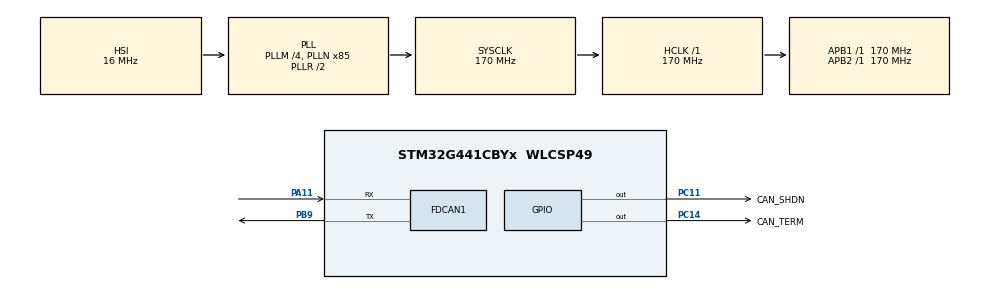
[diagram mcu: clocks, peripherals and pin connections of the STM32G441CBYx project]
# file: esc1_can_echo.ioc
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FDCAN1.CalculateBaudRateNominal=999999
FDCAN1.CalculateTimeBitNominal=1000
FDCAN1.CalculateTimeQuantumNominal=58.82352941176471
FDCAN1.NominalPrescaler=10
FDCAN1.NominalSyncJumpWidth=3
FDCAN1.NominalTimeSeg1=13
FDCAN1.NominalTimeSeg2=3
Mcu.Family=STM32G4
Mcu.Name=STM32G441CBYx
Mcu.Package=WLCSP49
NVIC.PriorityGroup=NVIC_PRIORITYGROUP_4
PA11.Mode=FDCAN_Activate
PA11.Signal=FDCAN1_RX
PB9.Mode=FDCAN_Activate
PB9.Signal=FDCAN1_TX
PC11.GPIO_Label=CAN_SHDN
PC11.Signal=GPIO_Output
PC14-OSC32_IN.GPIO_Label=CAN_TERM
PC14-OSC32_IN.PinState=GPIO_PIN_SET
PC14-OSC32_IN.Signal=GPIO_Output
ProjectManager.HeapSize=0x200
ProjectManager.StackSize=0x400
ProjectManager.TargetToolchain=STM32CubeIDE
RCC.ADC12Freq_Value=170000000
RCC.AHBFreq_Value=170000000
RCC.APB1Freq_Value=170000000
RCC.APB1TimFreq_Value=170000000
RCC.APB2Freq_Value=170000000
RCC.APB2TimFreq_Value=170000000
RCC.CortexFreq_Value=170000000
RCC.EXTERNAL_CLOCK_VALUE=12288000
RCC.HCLKFreq_Value=170000000
RCC.HSE_VALUE=8000000
RCC.HSI48_VALUE=48000000
RCC.HSI_VALUE=16000000
RCC.LSE_VALUE=32768
RCC.PLLM=RCC_PLLM_DIV4
RCC.PLLN=85
RCC.SYSCLKFreq_VALUE=170000000
RCC.SYSCLKSource=RCC_SYSCLKSOURCE_PLLCLK
RCC.USBFreq_Value=170000000
RCC.VCOOutputFreq_Value=340000000
VP_SYS_VS_DBSignals.Mode=DisableDeadBatterySignals
board=custom

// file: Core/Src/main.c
1/* USER CODE BEGIN Header */
/**
  ******************************************************************************
  * @file           : main.c
  * @brief          : Main program body
  ******************************************************************************
  * @attention
  *
  * Copyright (c) 2026 STMicroelectronics.
  * All rights reserved.
  *
  * This software is licensed under terms that can be found in the LICENSE file
  * in the root directory of this software component.
  * If no LICENSE file comes with this software, it is provided AS-IS.
  *
  ******************************************************************************
  */
/* USER CODE END Header */
#include "main.h"

FDCAN_HandleTypeDef hfdcan1;

/* USER CODE BEGIN PV */
FDCAN_RxHeaderTypeDef rxHeader;
FDCAN_TxHeaderTypeDef txHeader;
uint8_t rxData[8];
/* USER CODE END PV */

void SystemClock_Config(void);
static void MX_GPIO_Init(void);
static void MX_FDCAN1_Init(void);

int main(void)
{

  /* MCU Configuration--------------------------------------------------------*/

  /* Reset of all peripherals, Initializes the Flash interface and the Systick. */
  HAL_Init();

  /* Configure the system clock */
  SystemClock_Config();

  /* Initialize all configured peripherals */
  MX_GPIO_Init();
  MX_FDCAN1_Init();
  /* USER CODE BEGIN 2 */

  /* No explicit acceptance filters are allocated (StdFiltersNbr = 0 in the .ioc),
   * so route EVERY incoming frame via the global (non-matching) filter into
   * RX FIFO0 and reject remote frames. This needs no filter slots. */
  if (HAL_FDCAN_ConfigGlobalFilter(&hfdcan1,
                                   FDCAN_ACCEPT_IN_RX_FIFO0,   /* non-matching std -> FIFO0 */
                                   FDCAN_ACCEPT_IN_RX_FIFO0,   /* non-matching ext -> FIFO0 */
                                   FDCAN_REJECT_REMOTE,        /* reject remote std        */
                                   FDCAN_REJECT_REMOTE) != HAL_OK) /* reject remote ext    */
  {
    Error_Handler();
  }

  /* THE line everyone forgets — nothing moves on the bus without it. */
  if (HAL_FDCAN_Start(&hfdcan1) != HAL_OK)
  {
    Error_Handler();
  }

  /* Static parts of the echo TX header; DataLength is filled per-frame below. */
  txHeader.Identifier          = 0x7FF;
  txHeader.IdType              = FDCAN_STANDARD_ID;
  txHeader.TxFrameType         = FDCAN_DATA_FRAME;
  txHeader.ErrorStateIndicator = FDCAN_ESI_ACTIVE;
  txHeader.BitRateSwitch       = FDCAN_BRS_OFF;
  txHeader.FDFormat            = FDCAN_CLASSIC_CAN;
  txHeader.TxEventFifoControl  = FDCAN_NO_TX_EVENTS;
  txHeader.MessageMarker       = 0;
  /* USER CODE END 2 */

  /* Infinite loop */
  while (1)
  {

    /* USER CODE BEGIN 3 */
    if (HAL_FDCAN_GetRxFifoFillLevel(&hfdcan1, FDCAN_RX_FIFO0) > 0U)
    {
      if (HAL_FDCAN_GetRxMessage(&hfdcan1, FDCAN_RX_FIFO0, &rxHeader, rxData) == HAL_OK)
      {
        txHeader.DataLength = rxHeader.DataLength; /* echo same payload size */
        HAL_FDCAN_AddMessageToTxFifoQ(&hfdcan1, &txHeader, rxData);
      }
    }
  }
  /* USER CODE END 3 */
}

void SystemClock_Config(void)
{
  RCC_OscInitTypeDef RCC_OscInitStruct = {0};
  RCC_ClkInitTypeDef RCC_ClkInitStruct = {0};

  /** Configure the main internal regulator output voltage
  */
  HAL_PWREx_ControlVoltageScaling(PWR_REGULATOR_VOLTAGE_SCALE1_BOOST);

  /** Initializes the RCC Oscillators according to the specified parameters
  * in the RCC_OscInitTypeDef structure.
  */
  RCC_OscInitStruct.OscillatorType = RCC_OSCILLATORTYPE_HSI;
  RCC_OscInitStruct.HSIState = RCC_HSI_ON;
  RCC_OscInitStruct.HSICalibrationValue = RCC_HSICALIBRATION_DEFAULT;
  RCC_OscInitStruct.PLL.PLLState = RCC_PLL_ON;
  RCC_OscInitStruct.PLL.PLLSource = RCC_PLLSOURCE_HSI;
  RCC_OscInitStruct.PLL.PLLM = RCC_PLLM_DIV4;
  RCC_OscInitStruct.PLL.PLLN = 85;
  RCC_OscInitStruct.PLL.PLLP = RCC_PLLP_DIV2;
  RCC_OscInitStruct.PLL.PLLQ = RCC_PLLQ_DIV2;
  RCC_OscInitStruct.PLL.PLLR = RCC_PLLR_DIV2;
  if (HAL_RCC_OscConfig(&RCC_OscInitStruct) != HAL_OK)
  {
    Error_Handler();
  }

  /** Initializes the CPU, AHB and APB buses clocks
  */
  RCC_ClkInitStruct.ClockType = RCC_CLOCKTYPE_HCLK|RCC_CLOCKTYPE_SYSCLK
                              |RCC_CLOCKTYPE_PCLK1|RCC_CLOCKTYPE_PCLK2;
  RCC_ClkInitStruct.SYSCLKSource = RCC_SYSCLKSOURCE_PLLCLK;
  RCC_ClkInitStruct.AHBCLKDivider = RCC_SYSCLK_DIV1;
  RCC_ClkInitStruct.APB1CLKDivider = RCC_HCLK_DIV1;
  RCC_ClkInitStruct.APB2CLKDivider = RCC_HCLK_DIV1;

  if (HAL_RCC_ClockConfig(&RCC_ClkInitStruct, FLASH_LATENCY_4) != HAL_OK)
  {
    Error_Handler();
  }
}

static void MX_FDCAN1_Init(void)
{

  hfdcan1.Instance = FDCAN1;
  hfdcan1.Init.ClockDivider = FDCAN_CLOCK_DIV1;
  hfdcan1.Init.FrameFormat = FDCAN_FRAME_CLASSIC;
  hfdcan1.Init.Mode = FDCAN_MODE_NORMAL;
  hfdcan1.Init.AutoRetransmission = DISABLE;
  hfdcan1.Init.TransmitPause = DISABLE;
  hfdcan1.Init.ProtocolException = DISABLE;
  hfdcan1.Init.NominalPrescaler = 10;
  hfdcan1.Init.NominalSyncJumpWidth = 3;
  hfdcan1.Init.NominalTimeSeg1 = 13;
  hfdcan1.Init.NominalTimeSeg2 = 3;
  hfdcan1.Init.DataPrescaler = 1;
  hfdcan1.Init.DataSyncJumpWidth = 1;
  hfdcan1.Init.DataTimeSeg1 = 1;
  hfdcan1.Init.DataTimeSeg2 = 1;
  hfdcan1.Init.StdFiltersNbr = 0;
  hfdcan1.Init.ExtFiltersNbr = 0;
  hfdcan1.Init.TxFifoQueueMode = FDCAN_TX_FIFO_OPERATION;
  if (HAL_FDCAN_Init(&hfdcan1) != HAL_OK)
  {
    Error_Handler();
  }

}

static void MX_GPIO_Init(void)
{
  GPIO_InitTypeDef GPIO_InitStruct = {0};

  /* GPIO Ports Clock Enable */
  __HAL_RCC_GPIOC_CLK_ENABLE();
  __HAL_RCC_GPIOB_CLK_ENABLE();
  __HAL_RCC_GPIOA_CLK_ENABLE();

  /*Configure GPIO pin Output Level */
  HAL_GPIO_WritePin(CAN_SHDN_GPIO_Port, CAN_SHDN_Pin, GPIO_PIN_RESET);

  /*Configure GPIO pin Output Level */
  HAL_GPIO_WritePin(CAN_TERM_GPIO_Port, CAN_TERM_Pin, GPIO_PIN_SET);

  /*Configure GPIO pins : CAN_SHDN_Pin CAN_TERM_Pin */
  GPIO_InitStruct.Pin = CAN_SHDN_Pin|CAN_TERM_Pin;
  GPIO_InitStruct.Mode = GPIO_MODE_OUTPUT_PP;
  GPIO_InitStruct.Pull = GPIO_NOPULL;
  GPIO_InitStruct.Speed = GPIO_SPEED_FREQ_LOW;
  HAL_GPIO_Init(GPIOC, &GPIO_InitStruct);

}

void Error_Handler(void)
{
  __disable_irq();
  while (1)
  {
  }
}
